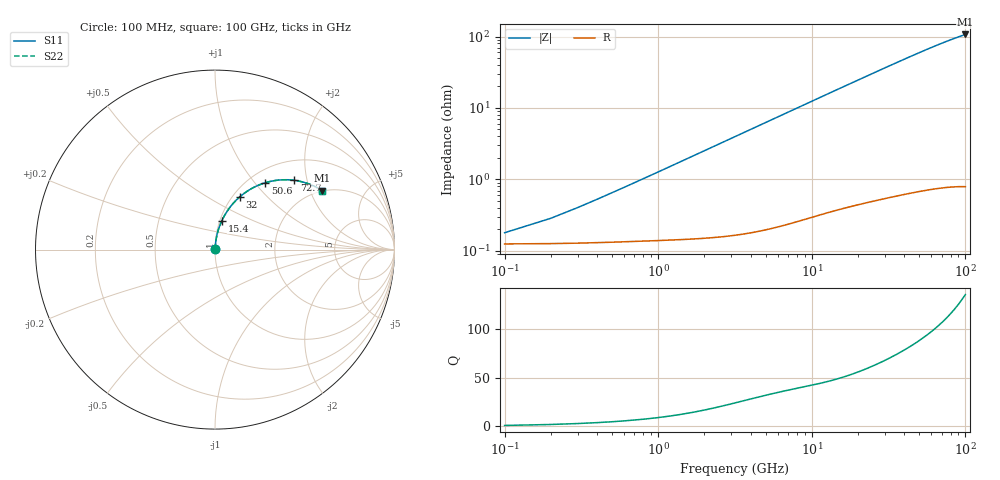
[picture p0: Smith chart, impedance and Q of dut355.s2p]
! Touchstone file exported from HFSS 2026.1.0
!  File:  C:/ffzhzh/LocalFiles/Ansys_Project_Files/temp_train_RDL_355_1783503296_9504.aedt
!  Generated:  05:36:10 PM Jul  8, 2026
!  Design:  RDL
!  Project:  temp_train_RDL_355_1783503296_9504
! Variables:
!  h_bsmrdl = 2um
!  h_ox = 20um
!  h_rdl = 5um
!  h_sub = 80um
!  h_tmrdl = 3.92um
!  h_tsv = 80um
!  h_via = 3um
!  l_bsmrdl = 300um
!  l_sub = 531.21um
!  l_tmrdl = 131.21um
!  m_sub = 200um
!  pitch = 59.19um
!  r_tsv = 6um
!  s_tmrdl = 10um
!  w_bsmrdl = 18um
!  w_sub = 500um
!  w_tmrdl = 10.57um
!  x_tsv_center1 = 136.495um
!  x_tsv_center2 = 454.495um
!  x_tsv_center3 = 596.275um
!  x_tsv_center4 = 914.275um
!  x_tsv_center5 = 1056.055um
!  x_tsv_center6 = 1374.055um
# GHz S MA R 50.000000
! Terminal data exported
! Port[1] = TM_RDL1_1_T1
! Port[2] = TM_RDL1_1_T2
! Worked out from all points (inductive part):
!   1000 points, 100 MHz to 100 GHz, reference 50 ohm
!   read as one part in series: L = 202 pH near 600 MHz
!   highest Q = 135 at 100 GHz (marker M1), where L = 170 pH
!   S11 on the Smith chart (normalised r, x): 100 MHz: 1.00, +0.00; 15.4 GHz: 1.02, +0.34; 32 GHz: 1.08, +0.71; 50.6 GHz: 1.19, +1.13; 72.7 GHz: 1.43, +1.68; 100 GHz: 1.98, +2.43
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0.1  0.001693 42.3  0.9987 -0.1  0.9987 -0.1  0.001693 42.3
! Gamma 0 0 0 0
! Port Impedance 50 0 50 0
0.4  0.004718 73.7  0.9987 -0.3  0.9987 -0.3  0.004718 73.7
0.8  0.009097 80.7  0.9986 -0.6  0.9986 -0.6  0.009097 80.7
1.1  0.0124 82.6  0.9985 -0.9  0.9985 -0.9  0.0124 82.6
1.4  0.01572 83.6  0.9984 -1.1  0.9984 -1.1  0.01572 83.6
1.9  0.02125 84.5  0.9983 -1.5  0.9983 -1.5  0.02125 84.5
2.4  0.02679 84.8  0.9981 -1.9  0.9981 -1.9  0.02679 84.8
3.7  0.04114 84.6  0.9974 -3.0  0.9974 -3.0  0.04114 84.6
5.7  0.06305 83.6  0.9959 -4.5  0.9959 -4.5  0.06305 83.6
8.2  0.09007 81.9  0.9934 -6.5  0.9934 -6.5  0.09007 81.9
11.4  0.1241 79.6  0.9891 -9.0  0.9891 -9.0  0.1241 79.5
15.4  0.1655 76.7  0.9824 -12.0  0.9824 -12.0  0.1655 76.7
16.8  0.1798 75.6  0.9798 -13.1  0.9798 -13.1  0.1798 75.6
23.6  0.2467 70.8  0.9644 -18.1  0.9644 -18.1  0.2467 70.8
32  0.3234 65.0  0.941 -24.1  0.941 -24.1  0.3234 64.9
33.4  0.3355 64.0  0.9367 -25.1  0.9367 -25.1  0.3355 64.0
50.1  0.4626 53.4  0.8806 -35.9  0.8806 -35.9  0.4626 53.4
50.6  0.4659 53.1  0.8788 -36.2  0.8788 -36.2  0.4659 53.1
66.7  0.5591 44.1  0.8228 -45.3  0.8228 -45.3  0.5591 44.1
72.7  0.5874 41.1  0.803 -48.3  0.803 -48.3  0.5874 41.0
83.4  0.6305 36.0  0.7699 -53.5  0.7699 -53.5  0.6305 36.0
100  0.6812 28.9  0.7258 -60.7  0.7258 -60.7  0.6812 28.8
